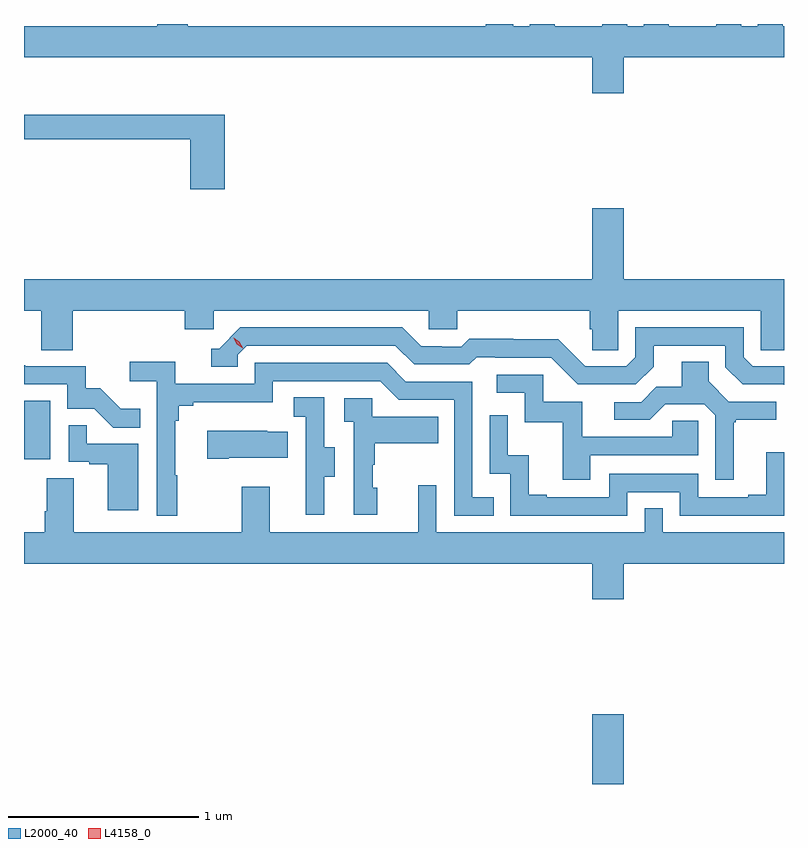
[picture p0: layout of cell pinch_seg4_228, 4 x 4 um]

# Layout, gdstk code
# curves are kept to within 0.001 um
import gdstk
lib = gdstk.Library(unit=1e-6, precision=1e-09)
def R(c, l, rs):  # rectangles x0, y0, x1, y1
    for r in rs: c.add(gdstk.rectangle(r[:2], r[2:], *l))
def P(c, l, *ps):  # polygons
    for p in ps: c.add(gdstk.Polygon(p, *l))
L2000_40 = (2000, 40)
L4158_0 = (4158, 0)

pinch_seg4_228 = lib.new_cell('pinch_seg4_228')
R(pinch_seg4_228, L2000_40, [(908.264,826.296,908.428,826.663), (905.272,828.006,905.41,828.313)])
P(pinch_seg4_228, L2000_40, [(908.428,830.12),(909.272,830.12),(909.272,830.284),(909.265,830.284),(909.265,830.296),(909.134,830.296),(909.134,830.284),(909.046,830.284),(909.046,830.296),(908.915,830.296),(908.915,830.284),(908.665,830.284),(908.665,830.296),(908.534,830.296),(908.534,830.284),(908.446,830.284),(908.446,830.296),(908.315,830.296),(908.315,830.284),(908.065,830.284),(908.065,830.296),(907.934,830.296),(907.934,830.284),(907.846,830.284),(907.846,830.296),(907.703,830.296),(907.703,830.284),(906.134,830.284),(906.134,830.296),(905.974,830.296),(905.974,830.284),(905.272,830.284),(905.272,830.12),(908.264,830.12),(908.264,829.932),(908.428,829.932)],
  [(906.329,829.819),(905.272,829.819),(905.272,829.69),(906.146,829.69),(906.146,829.425),(906.329,829.425)],
  [(905.528,828.788),(906.119,828.788),(906.119,828.69),(906.27,828.69),(906.27,828.788),(907.401,828.788),(907.401,828.69),(907.551,828.69),(907.551,828.788),(908.249,828.788),(908.249,828.69),(908.263,828.69),(908.263,828.58),(908.4,828.58),(908.4,828.788),(909.15,828.788),(909.15,828.58),(909.272,828.58),(909.272,828.952),(908.428,828.952),(908.428,829.327),(908.264,829.327),(908.264,828.952),(905.272,828.952),(905.272,828.788),(905.363,828.788),(905.363,828.58),(905.528,828.58)],
  [(909.272,828.495),(909.108,828.495),(909.06,828.543),(909.06,828.699),(908.49,828.699),(908.49,828.543),(908.442,828.495),(908.226,828.495),(908.084,828.637),(907.848,828.637),(907.848,828.64),(907.615,828.64),(907.573,828.597),(907.47,828.597),(907.47,828.6),(907.363,828.6),(907.264,828.699),(906.411,828.699),(906.3,828.588),(906.257,828.588),(906.257,828.492),(906.396,828.492),(906.396,828.555),(906.444,828.603),(907.227,828.603),(907.326,828.504),(907.615,828.504),(907.654,828.543),(907.753,828.543),(907.753,828.54),(908.046,828.54),(908.187,828.399),(908.493,828.399),(908.587,828.493),(908.587,828.603),(908.964,828.603),(908.964,828.489),(909.054,828.399),(909.272,828.398)],
  [(906.079,827.921),(906.067,827.921),(906.067,828.209),(906.086,828.209),(906.086,828.286),(906.163,828.286),(906.163,828.305),(906.582,828.305),(906.582,828.417),(907.146,828.417),(907.245,828.318),(907.536,828.318),(907.536,827.709),(907.745,827.709),(907.745,827.805),(907.632,827.805),(907.632,828.414),(907.282,828.414),(907.183,828.513),(906.486,828.513),(906.486,828.402),(906.068,828.402),(906.068,828.518),(905.829,828.518),(905.829,828.416),(905.97,828.416),(905.97,827.709),(906.079,827.709)],
  [(909.007,828.201),(909.019,828.201),(909.019,828.212),(909.232,828.212),(909.232,828.309),(908.982,828.309),(908.875,828.416),(908.875,828.518),(908.735,828.518),(908.735,828.386),(908.6,828.386),(908.52,828.306),(908.379,828.306),(908.379,828.213),(908.566,828.213),(908.647,828.294),(908.853,828.294),(908.91,828.237),(908.91,827.898),(909.007,827.898)],
  [(905.885,828.271),(905.781,828.271),(905.674,828.378),(905.598,828.378),(905.598,828.495),(905.279,828.495),(905.279,828.5),(905.272,828.5),(905.272,828.399),(905.499,828.399),(905.499,828.27),(905.643,828.27),(905.741,828.172),(905.885,828.172)],
  [(908.251,828.027),(908.82,828.027),(908.82,828.207),(908.683,828.207),(908.683,828.123),(908.209,828.123),(908.209,828.309),(908.004,828.309),(908.004,828.45),(907.761,828.45),(907.761,828.354),(907.908,828.354),(907.908,828.201),(908.107,828.201),(908.107,827.898),(908.251,827.898)],
  [(906.853,827.914),(906.907,827.914),(906.907,828.069),(906.852,828.069),(906.852,828.332),(906.693,828.332),(906.693,828.229),(906.756,828.229),(906.756,827.925),(906.755,827.925),(906.755,827.712),(906.853,827.712)],
  [(907.132,827.856),(907.107,827.856),(907.107,827.975),(907.117,827.975),(907.117,828.089),(907.451,828.089),(907.451,828.229),(907.104,828.229),(907.104,828.327),(906.957,828.327),(906.957,828.203),(907.008,828.203),(907.008,827.712),(907.132,827.712)],
  [(908.448,827.832),(908.724,827.832),(908.724,827.709),(909.272,827.709),(909.272,828.043),(909.179,828.043),(909.179,827.818),(909.083,827.818),(909.083,827.805),(908.82,827.805),(908.82,827.928),(908.352,827.928),(908.352,827.805),(908.023,827.805),(908.023,827.818),(907.928,827.818),(907.928,828.026),(907.818,828.026),(907.818,828.238),(907.722,828.238),(907.722,827.928),(907.83,827.928),(907.83,827.709),(908.448,827.709)],
  [(905.872,828.087),(905.603,828.087),(905.603,828.185),(905.508,828.185),(905.508,827.991),(905.615,827.991),(905.615,827.979),(905.714,827.979),(905.714,827.736),(905.872,827.736)],
  [(906.349,828.014),(906.659,828.014),(906.659,828.151),(906.551,828.151),(906.551,828.154),(906.237,828.154),(906.237,828.007),(906.349,828.007)],
  [(908.428,827.456),(909.272,827.456),(909.272,827.62),(908.634,827.62),(908.634,827.747),(908.538,827.747),(908.538,827.62),(907.443,827.62),(907.443,827.869),(907.346,827.869),(907.346,827.62),(906.565,827.62),(906.565,827.86),(906.418,827.86),(906.418,827.62),(905.533,827.62),(905.533,827.906),(905.393,827.906),(905.393,827.732),(905.381,827.732),(905.381,827.62),(905.272,827.62),(905.272,827.456),(908.264,827.456),(908.264,827.268),(908.428,827.268)])
P(pinch_seg4_228, L4158_0, [(906.422,828.59),(906.391,828.61),(906.375,828.643),(906.375,828.644),(906.376,828.644),(906.406,828.624),(906.422,828.591),(906.422,828.59)])

lib.write_gds('pinch_seg4_228.gds')
